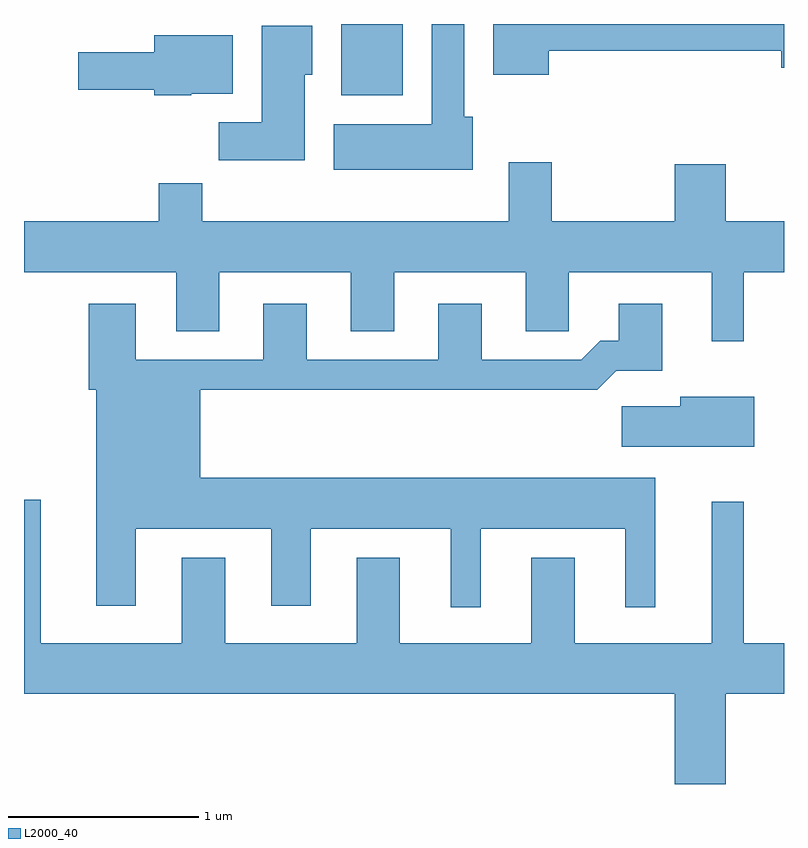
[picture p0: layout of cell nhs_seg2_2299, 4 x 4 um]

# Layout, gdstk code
import gdstk
lib = gdstk.Library(unit=1e-6, precision=1e-09)
def R(c, l, rs):  # rectangles x0, y0, x1, y1
    for r in rs: c.add(gdstk.rectangle(r[:2], r[2:], *l))
def P(c, l, *ps):  # polygons
    for p in ps: c.add(gdstk.Polygon(p, *l))
L2000_40 = (2000, 40)

nhs_seg2_2299 = lib.new_cell('nhs_seg2_2299')
R(nhs_seg2_2299, L2000_40, [(253.281,1091.426,253.604,1091.802)])
P(nhs_seg2_2299, L2000_40, [(253.974,1091.314),(253.929,1091.314),(253.929,1091.802),(253.756,1091.802),(253.756,1091.274),(253.241,1091.274),(253.241,1091.036),(253.974,1091.036)],
  [(254.374,1091.661),(255.596,1091.661),(255.596,1091.571),(255.611,1091.571),(255.611,1091.802),(254.081,1091.802),(254.081,1091.536),(254.374,1091.536)],
  [(253.089,1091.536),(253.129,1091.536),(253.129,1091.794),(252.861,1091.794),(252.861,1091.284),(252.636,1091.284),(252.636,1091.086),(253.089,1091.086)],
  [(252.49,1091.436),(252.709,1091.436),(252.709,1091.744),(252.296,1091.744),(252.296,1091.654),(251.896,1091.654),(251.896,1091.456),(252.296,1091.456),(252.296,1091.426),(252.49,1091.426)],
  [(255.399,1090.496),(255.611,1090.496),(255.611,1090.764),(255.304,1090.764),(255.304,1091.064),(255.036,1091.064),(255.036,1090.764),(254.389,1090.764),(254.389,1091.074),(254.161,1091.074),(254.161,1090.764),(252.549,1090.764),(252.549,1090.964),(252.321,1090.964),(252.321,1090.764),(251.611,1090.764),(251.611,1090.496),(252.411,1090.496),(252.411,1090.186),(252.639,1090.186),(252.639,1090.496),(253.331,1090.496),(253.331,1090.186),(253.559,1090.186),(253.559,1090.496),(254.251,1090.496),(254.251,1090.186),(254.479,1090.186),(254.479,1090.496),(255.231,1090.496),(255.231,1090.133),(255.399,1090.133)],
  [(254.014,1089.146),(254.776,1089.146),(254.776,1088.733),(254.934,1088.733),(254.934,1089.414),(252.539,1089.414),(252.539,1089.876),(254.627,1089.876),(254.727,1089.976),(254.969,1089.976),(254.969,1090.329),(254.741,1090.329),(254.741,1090.134),(254.644,1090.134),(254.544,1090.034),(254.019,1090.034),(254.019,1090.329),(253.791,1090.329),(253.791,1090.034),(253.099,1090.034),(253.099,1090.329),(252.871,1090.329),(252.871,1090.034),(252.199,1090.034),(252.199,1090.329),(251.951,1090.329),(251.951,1089.876),(251.991,1089.876),(251.991,1088.741),(252.199,1088.741),(252.199,1089.146),(252.911,1089.146),(252.911,1088.741),(253.119,1088.741),(253.119,1089.146),(253.856,1089.146),(253.856,1088.733),(254.014,1088.733)],
  [(255.454,1089.839),(255.066,1089.839),(255.066,1089.789),(254.756,1089.789),(254.756,1089.576),(255.454,1089.576)],
  [(255.304,1088.276),(255.611,1088.276),(255.611,1088.544),(255.399,1088.544),(255.399,1089.288),(255.231,1089.288),(255.231,1088.544),(254.509,1088.544),(254.509,1088.994),(254.281,1088.994),(254.281,1088.544),(253.589,1088.544),(253.589,1088.994),(253.361,1088.994),(253.361,1088.544),(252.669,1088.544),(252.669,1088.994),(252.441,1088.994),(252.441,1088.544),(251.699,1088.544),(251.699,1089.299),(251.611,1089.299),(251.611,1088.276),(255.036,1088.276),(255.036,1087.802),(255.304,1087.802)])

lib.write_gds('nhs_seg2_2299.gds')
